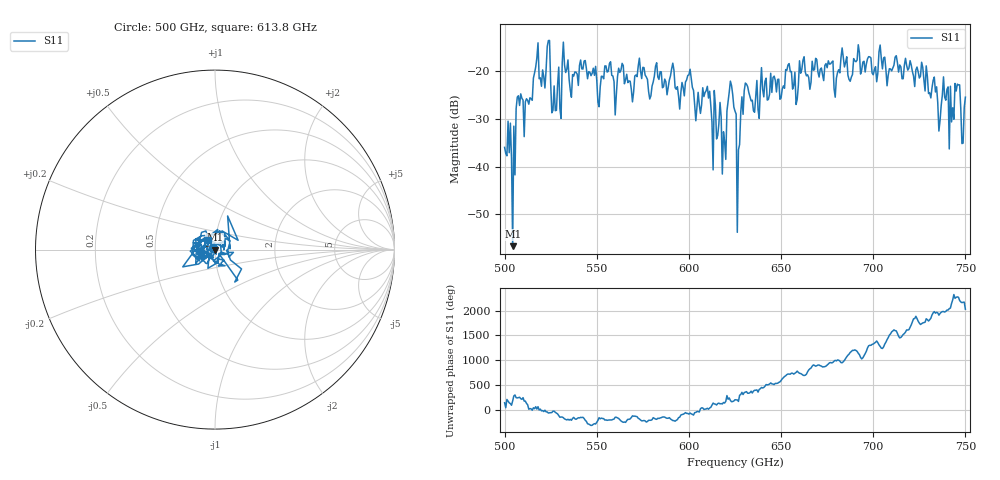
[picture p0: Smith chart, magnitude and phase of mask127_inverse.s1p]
!Created with skrf (http://scikit-rf.org).
# GHz S MA R 50.0
!freq magS11 angS11
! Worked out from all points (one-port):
!   401 points, 500 GHz to 750 GHz, reference 50 ohm
!   lowest |S11| = -56.7 dB at 504.4 GHz (marker M1), VSWR 1.00, Z = 49.9 - j0.0135 ohm
!   |S11| at or under -10 dB: start of sweep to end of sweep
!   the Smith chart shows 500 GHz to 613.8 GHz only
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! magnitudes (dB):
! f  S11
! 500 GHz  -36.0
! 504.4 GHz  -56.7
! 507.5 GHz  -25.1
! 511.9 GHz  -25.7
! 516.9 GHz  -19.1
! 520.6 GHz  -19.7
! 523.8 GHz  -13.5
! 526.9 GHz  -23.0
! 531.2 GHz  -18.3
! 562.5 GHz  -20.2
! 579.4 GHz  -25.1
! 590.6 GHz  -19.4
! 593.8 GHz  -23.2
! 610 GHz  -23.1
! 618.8 GHz  -32.7
! 622.5 GHz  -22.0
! 625 GHz  -28.3
! 627.5 GHz  -35.3
! 631.2 GHz  -22.7
! 656.2 GHz  -23.7
! 687.5 GHz  -22.1
! 691.2 GHz  -17.6
! 718.8 GHz  -19.7
! 736.2 GHz  -30.3
! 739.4 GHz  -26.0
! 742.5 GHz  -30.6
! 745.6 GHz  -22.7
! 750 GHz  -25.4
